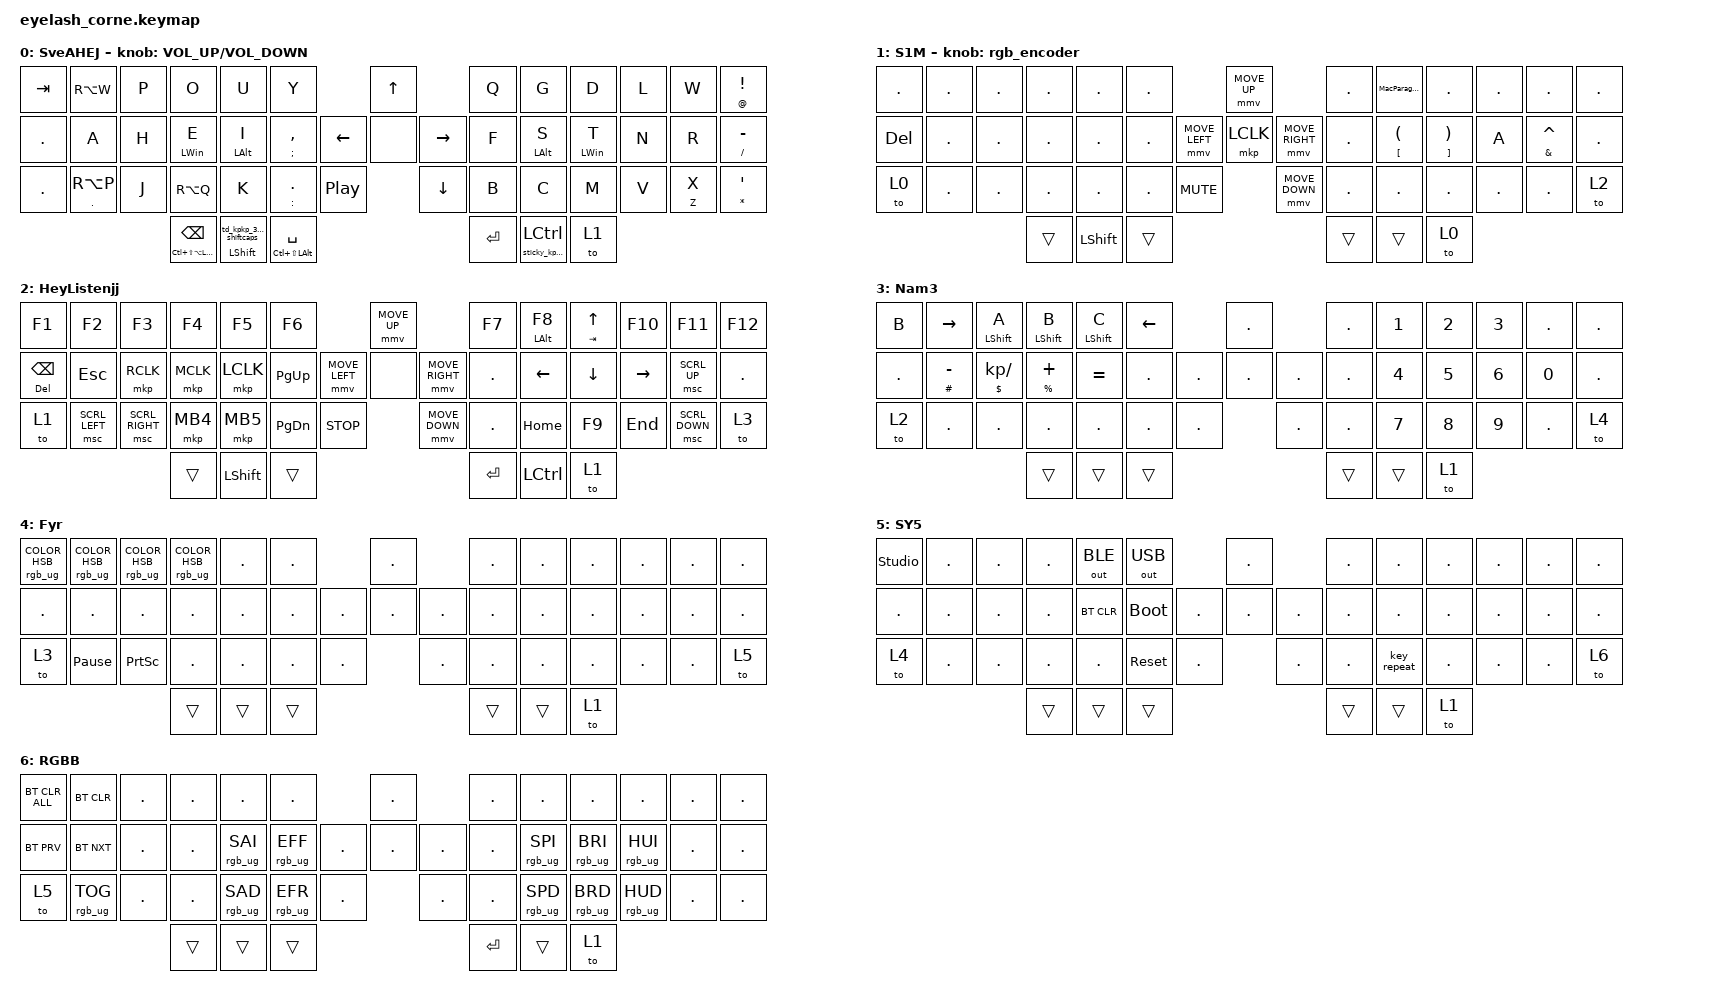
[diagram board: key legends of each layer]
#include <dt-bindings/zmk/mouse.h>
#include <input/processors.dtsi>

/*

   &mmv_input_listener {
       input-processors = <&zip_xy_scaler 2 1>;
   };

   &msc_input_listener {
       input-processors = <&zip_xy_scaler 2 1>;
   };

 */

#define ZMK_POINTING_DEFAULT_MOVE_VAL 1500  // default: 600
#define ZMK_POINTING_DEFAULT_SCRL_VAL 20    // default: 10

#include <behaviors.dtsi>
#include <dt-bindings/zmk/bt.h>
#include <dt-bindings/zmk/keys.h>
#include <dt-bindings/zmk/outputs.h>
#include <dt-bindings/zmk/pointing.h>
#include <dt-bindings/zmk/rgb.h>

&mmv {
    x-input-code = <INPUT_REL_X>;
    y-input-code = <INPUT_REL_Y>;
    time-to-max-speed-ms = <100>;
    acceleration-exponent = <2>;
};

&msc {
    x-input-code = <INPUT_REL_HWHEEL>;
    y-input-code = <INPUT_REL_WHEEL>;
    time-to-max-speed-ms = <100>;
    acceleration-exponent = <2>;
};

&sk {
    quick-release;
    release-after-ms = <5000>;
    lazy;
};

&sl { release-after-ms = <5000>; };

/ {
    behaviors {
        td_kpkp_300ms_shiftcaps: td_kpkp_300ms_shiftcaps {
            compatible = "zmk,behavior-tap-dance";
            display-name = "Shift/Caps Lock Tap Dance";
            #binding-cells = <0>;
            bindings = <&kp LEFT_SHIFT>, <&kp CAPS>;

            label = "TD_KPKP_300MS_SHIFTCAPS";
            tapping-term-ms = <300>;
        };

        holdtap_kpkp_holdpref: holdtap_kpkp_holdpref {
            compatible = "zmk,behavior-hold-tap";
            label = "HOLDTAP_KPKP_HOLDPREF (for esc, ctrl, etc)";
            bindings = <&kp>, <&kp>;

            #binding-cells = <2>;
            tapping-term-ms = <300>;
            quick-tap-ms = <300>;
            require-prior-idle-ms = <100>;
        };

        sticky_key_5k_qe_lz_moddis: sticky_key_5k_qe_lz_moddis {
            compatible = "zmk,behavior-sticky-key";
            label = "STICKY_KEY_5K_QE_LZ_MODDIS";
            bindings = <&sk>;
            #binding-cells = <1>;
            ignore-modifiers;
            release-after-ms = <5000>;
            quick-release;
            lazy;
        };

        sticky_lay_5k_qe_lz_moddis: sticky_lay_5k_qe_lz_moddis {
            compatible = "zmk,behavior-sticky-key";
            label = "STICKY_LAY_5K_QE_LZ_MODDIS";
            bindings = <&sl>;
            #binding-cells = <1>;
            release-after-ms = <5000>;
            ignore-modifiers;
            lazy;
            quick-release;
        };

        holdtap_kpkp_balpref: holdtap_kpkp_balpref {
            compatible = "zmk,behavior-hold-tap";
            label = "HOLDTAP_KPKP_BALPREF";
            bindings = <&kp>, <&kp>;

            #binding-cells = <2>;
            tapping-term-ms = <300>;
            flavor = "balanced";
            quick-tap-ms = <300>;
            require-prior-idle-ms = <100>;
        };

        holdtap_kpkp_tappref: holdtap_kpkp_tappref {
            compatible = "zmk,behavior-hold-tap";
            label = "holdtap_kpkp_tappref (for homerow mods)";
            bindings = <&kp>, <&kp>;

            #binding-cells = <2>;
            tapping-term-ms = <200>;
            flavor = "tap-preferred";
            quick-tap-ms = <300>;
            require-prior-idle-ms = <100>;
        };

        holdtap_kpto_tappref: holdtap_kpto_tappref {
            compatible = "zmk,behavior-hold-tap";
            label = "HOLDTAP_KPTO_TAPPREF (for layer taps)";
            bindings = <&kp>, <&to>;

            #binding-cells = <2>;
            flavor = "tap-preferred";
            tapping-term-ms = <300>;
            require-prior-idle-ms = <100>;
            quick-tap-ms = <300>;
        };

        ht_StickkpKr_balhtor: ht_StickkpKr_balhtor {
            compatible = "zmk,behavior-hold-tap";
            label = "HT_STICKKPKR_BALHTOR";
            bindings = <&sticky_kp_1000ms>, <&key_repeat>;

            #binding-cells = <2>;
            tapping-term-ms = <500>;
            flavor = "balanced";
            require-prior-idle-ms = <50>;
            hold-trigger-on-release;
        };

        sticky_kp_1000ms: sticky_kp_1000ms {
            compatible = "zmk,behavior-sticky-key";
            label = "STICKY_KP_1000MS";
            bindings = <&kp>;
            #binding-cells = <1>;
            release-after-ms = <1000>;
        };

        holdtap_sticktd_stickkp_tdshica: holdtap_sticktd_stickkp_tdshica {
            compatible = "zmk,behavior-hold-tap";
            label = "holdtap_sticktd_stickkp_tdshica (shiftcaps)";
            bindings = <&sticky_kp_1000ms>, <&td_kpkp_300ms_shiftcaps>;

            #binding-cells = <2>;
            tapping-term-ms = <300>;
            flavor = "balanced";
        };

        hwu: hwu {
            compatible = "zmk,behavior-hold-tap";
            label = "HWU";
            bindings = <&kp>, <&kp>;

            #binding-cells = <2>;
            tapping-term-ms = <300>;
            quick-tap-ms = <300>;
            require-prior-idle-ms = <100>;
            flavor = "balanced";
            hold-while-undecided;
        };

        hwul: hwul {
            compatible = "zmk,behavior-hold-tap";
            label = "HWUL";
            bindings = <&kp>, <&kp>;

            #binding-cells = <2>;
            tapping-term-ms = <300>;
            quick-tap-ms = <300>;
            require-prior-idle-ms = <100>;
            flavor = "balanced";
            hold-while-undecided-linger;
        };

        hwrt: hwrt {
            compatible = "zmk,behavior-hold-tap";
            label = "HWRT";
            bindings = <&kp>, <&kp>;

            #binding-cells = <2>;
            tapping-term-ms = <300>;
            quick-tap-ms = <300>;
            require-prior-idle-ms = <100>;
            flavor = "balanced";
            retro-tap;
        };

        ht_kpkpbal_htkp_left_htor_hrm: ht_kpkpbal_htkp_left_htor_hrm {
            compatible = "zmk,behavior-hold-tap";
            label = "HT_KPKPBAL_HTKP_LEFT_HTOR_HRM";
            bindings = <&kp>, <&kp>;

            #binding-cells = <2>;
            require-prior-idle-ms = <0>;
            flavor = "balanced";
            quick-tap-ms = <300>;
            tapping-term-ms = <300>;
            hold-trigger-on-release;
            hold-trigger-key-positions = <7 8 9 10 11 12 22 23 24 25 26 27 36 37 38 39 40 41 45 46 47 6 20 21 35 19>;
        };

        ht_kpkpbal_htkp_right_htor_hrm: ht_kpkpbal_htkp_right_htor_hrm {
            compatible = "zmk,behavior-hold-tap";
            label = "HT_KPKPBAL_HTKP_RIGHT_HTOR_HRM";
            bindings = <&kp>, <&kp>;

            #binding-cells = <2>;
            require-prior-idle-ms = <0>;
            flavor = "balanced";
            quick-tap-ms = <300>;
            tapping-term-ms = <300>;
            hold-trigger-on-release;
            hold-trigger-key-positions = <6 20 21 35 19 0 1 2 3 4 5 13 14 15 16 17 18 28 29 30 31 32 33 42 43 44>;
        };
    };

    rgb_encoder: rgb_encoder {
        compatible = "zmk,behavior-sensor-rotate";
        #sensor-binding-cells = <0>;
        bindings = <&rgb_ug RGB_BRI>, <&rgb_ug RGB_BRD>;
    };

    scroll_encoder: scroll_encoder {
        compatible = "zmk,behavior-sensor-rotate";
        #sensor-binding-cells = <0>;
        bindings = <&msc SCRL_DOWN>, <&msc SCRL_UP>;

        tap-ms = <30>;
    };

    macros {
        zmisc_HighContrast: zmisc_HighContrast {
            compatible = "zmk,behavior-macro";
            #binding-cells = <0>;
            bindings = <&kp LA(LS(PRINTSCREEN))>;
            label = "ZMISC_HIGHCONTRAST";
        };

        MacParagrafzeichen: MacParagrafzeichen {
            compatible = "zmk,behavior-macro";
            #binding-cells = <0>;
            bindings = <&macro_tap>, <&kp N0 &kp N1 &kp N6 &kp N7>;

            label = "MACPARAGRAFZEICHEN";
        };
    };

    combos {
        compatible = "zmk,combos";

        combo_rgbtog {
            bindings = <&rgb_ug RGB_TOG>;
            key-positions = <2 3>;
            require-prior-idle-ms = <10>;
        };

        combo_kp {
            bindings = <&kp PERIOD>;
            key-positions = <1 2>;
            require-prior-idle-ms = <10>;
        };

        combo_kp2 {
            bindings = <&kp PERIOD>;
            key-positions = <1 2 3>;
            require-prior-idle-ms = <10>;
        };

        to2 {
            bindings = <&to 2>;
            key-positions = <47 23>;
            require-prior-idle-ms = <10>;
        };

        to3 {
            bindings = <&to 3>;
            key-positions = <47 23 24>;
            require-prior-idle-ms = <10>;
        };

        to4 {
            bindings = <&to 4>;
            key-positions = <47 23 24 25>;
            require-prior-idle-ms = <10>;
        };

        to5 {
            bindings = <&to 5>;
            key-positions = <47 23 24 25 26>;
            require-prior-idle-ms = <10>;
        };
    };

    keymap {
        compatible = "zmk,keymap";

        Zer0 {
            display-name = "SveAHEJ";
            bindings = <
&kp TAB     &kp RA(W)                           &kp P  &kp O                                                      &kp U                                          &kp Y                                                                        &kp UP               &kp Q      &kp G                             &kp D                             &kp L  &kp W                       &holdtap_kpkp_holdpref AT_SIGN EXCL
&kp PERIOD  &kp A                               &kp H  &ht_kpkpbal_htkp_left_htor_hrm LEFT_WIN E                  &ht_kpkpbal_htkp_left_htor_hrm LEFT_ALT I      &holdtap_kpkp_holdpref SEMI COMMA                                  &kp LEFT  &none     &kp RIGHT  &kp F      &holdtap_kpkp_tappref LEFT_ALT S  &holdtap_kpkp_tappref LEFT_WIN T  &kp N  &kp R                       &holdtap_kpkp_holdpref SLASH MINUS
&kp PERIOD  &holdtap_kpkp_tappref PERIOD RA(P)  &kp J  &kp RA(Q)                                                  &kp K                                          &holdtap_kpkp_holdpref COLON DOT               &kp C_PLAY_PAUSE              &kp DOWN             &kp B      &kp C                             &kp M                             &kp V  &holdtap_kpkp_holdpref Z X  &holdtap_kpkp_holdpref ASTRK APOS
                                                       &holdtap_kpkp_holdpref LC(LS(LA(LEFT_COMMAND))) BACKSPACE  &holdtap_sticktd_stickkp_tdshica LEFT_SHIFT 0  &holdtap_kpkp_holdpref LC(LS(LEFT_ALT)) SPACE                                                     &kp ENTER  &ht_StickkpKr_balhtor 0 LCTRL     &to 1
            >;

            sensor-bindings = <&inc_dec_kp C_VOLUME_UP C_VOLUME_DOWN>;
        };

        S1M {
            display-name = "S1M";
            bindings = <
&kp DOT     &kp DOT     &kp DOT  &kp DOT  &kp DOT         &kp DOT                                &mmv MOVE_UP                     &kp DOT  &MacParagrafzeichen               &kp DOT                           &kp DOT  &kp DOT                                 &kp DOT
&kp DELETE  &kp DOT     &kp DOT  &kp DOT  &kp DOT         &kp DOT                &mmv MOVE_LEFT  &mkp LCLK       &mmv MOVE_RIGHT  &kp DOT  &holdtap_kpkp_holdpref LBKT LPAR  &holdtap_kpkp_holdpref RBKT RPAR  &kp A    &holdtap_kpkp_holdpref AMPERSAND CARET  &kp PERIOD
&to 0       &kp PERIOD  &kp DOT  &kp DOT  &kp DOT         &kp DOT  &kp K_MUTE                    &mmv MOVE_DOWN                   &kp DOT  &kp DOT                           &kp DOT                           &kp DOT  &kp DOT                                 &to 2
                                 &trans   &kp LEFT_SHIFT  &trans                                                                  &trans   &trans                            &to 0
            >;

            sensor-bindings = <&rgb_encoder>;
        };

        Navii {
            label = "Navii";
            display-name = "HeyListenjj";
            bindings = <
&kp F1                                  &kp F2          &kp F3           &kp F4     &kp F5          &kp F6                                       &mmv MOVE_UP                     &kp F7      &holdtap_kpkp_holdpref LEFT_ALT F8  &holdtap_kpkp_holdpref TAB UP_ARROW  &kp F10          &kp F11         &kp F12
&holdtap_kpkp_balpref DELETE BACKSPACE  &kp ESCAPE      &mkp RCLK        &mkp MCLK  &mkp LCLK       &kp PAGE_UP                  &mmv MOVE_LEFT  &none           &mmv MOVE_RIGHT  &kp PERIOD  &kp LEFT                            &kp DOWN_ARROW                       &kp RIGHT_ARROW  &msc SCRL_UP    &kp PERIOD
&to 1                                   &msc SCRL_LEFT  &msc SCRL_RIGHT  &mkp MB4   &mkp MB5        &kp PAGE_DOWN  &kp C_STOP                    &mmv MOVE_DOWN                   &kp DOT     &kp HOME                            &kp F9                               &kp END          &msc SCRL_DOWN  &to 3
                                                                         &trans     &kp LEFT_SHIFT  &trans                                                                        &kp ENTER   &kp LCTRL                           &to 1
            >;
        };

        MultiNam3 {
            bindings = <
&kp B    &kp RIGHT_ARROW                    &hwu LEFT_SHIFT A                      &hwul LEFT_SHIFT B                   &hwrt LEFT_SHIFT C  &kp LEFT_ARROW                      &kp DOT           &kp DOT     &kp N1  &kp N2  &kp N3  &kp DOT  &kp DOT
&kp DOT  &holdtap_kpkp_holdpref HASH MINUS  &holdtap_kpkp_holdpref DLLR KP_DIVIDE  &holdtap_kpkp_holdpref PERCENT PLUS  &kp EQUAL           &kp DOT                    &kp DOT  &kp DOT  &kp DOT  &kp PERIOD  &kp N4  &kp N5  &kp N6  &kp N0   &kp PERIOD
&to 2    &kp DOT                            &kp DOT                                &kp DOT                              &kp DOT             &kp DOT         &kp DOT             &kp DOT           &kp DOT     &kp N7  &kp N8  &kp N9  &kp DOT  &to 4
                                                                                   &trans                               &trans              &trans                                                &trans      &trans  &to 1
            >;

            label = "Nam3";
        };

        EatMy4ts {
            bindings = <
&rgb_ug RGB_COLOR_HSB(183,49,56)  &rgb_ug RGB_COLOR_HSB(303,58,40)  &rgb_ug RGB_COLOR_HSB(309,78,47)  &rgb_ug RGB_COLOR_HSB(192,66,45)  &kp DOT  &kp DOT                      &kp DOT           &kp DOT  &kp DOT  &kp DOT  &kp DOT  &kp DOT  &kp DOT
&kp DOT                           &kp DOT                           &kp DOT                           &kp DOT                           &kp DOT  &kp DOT             &kp DOT  &kp DOT  &kp DOT  &kp DOT  &kp DOT  &kp DOT  &kp DOT  &kp DOT  &kp PERIOD
&to 3                             &kp PAUSE_BREAK                   &kp PRINTSCREEN                   &kp DOT                           &kp DOT  &kp DOT  &kp DOT             &kp DOT           &kp DOT  &kp DOT  &kp DOT  &kp DOT  &kp DOT  &to 5
                                                                                                      &trans                            &trans   &trans                                         &trans   &trans   &to 1
            >;

            label = "Fyr";
        };

        SY5 {
            bindings = <
&studio_unlock  &kp DOT  &kp DOT  &kp DOT  &out OUT_BLE  &out OUT_USB                      &kp DOT           &kp DOT  &kp DOT      &kp DOT  &kp DOT  &kp DOT  &kp DOT
&kp DOT         &kp DOT  &kp DOT  &kp DOT  &bt BT_CLR    &bootloader              &kp DOT  &kp DOT  &kp DOT  &kp DOT  &kp DOT      &kp DOT  &kp DOT  &kp DOT  &kp DOT
&to 4           &kp DOT  &kp DOT  &kp DOT  &kp DOT       &sys_reset    &kp DOT             &kp DOT           &kp DOT  &key_repeat  &kp DOT  &kp DOT  &kp DOT  &to 6
                                  &trans   &trans        &trans                                              &trans   &trans       &to 1
            >;

            label = "SY5";
        };

        R6BB {
            display-name = "RGBB";
            bindings = <
&bt BT_CLR_ALL  &bt BT_CLR       &kp DOT     &kp DOT  &kp DOT          &kp DOT                              &kp DOT           &kp DOT    &kp DOT          &kp DOT          &kp DOT          &kp DOT  &kp DOT
&bt BT_PRV      &bt BT_NXT       &kp DOT     &kp DOT  &rgb_ug RGB_SAI  &rgb_ug RGB_EFF             &kp DOT  &kp DOT  &kp DOT  &kp DOT    &rgb_ug RGB_SPI  &rgb_ug RGB_BRI  &rgb_ug RGB_HUI  &kp DOT  &kp DOT
&to 5           &rgb_ug RGB_TOG  &kp PERIOD  &kp DOT  &rgb_ug RGB_SAD  &rgb_ug RGB_EFR  &kp DOT             &kp DOT           &kp DOT    &rgb_ug RGB_SPD  &rgb_ug RGB_BRD  &rgb_ug RGB_HUD  &kp DOT  &kp DOT
                                             &trans   &trans           &trans                                                 &kp ENTER  &trans           &to 1
            >;

            label = "R6BB";
        };
    };
};
